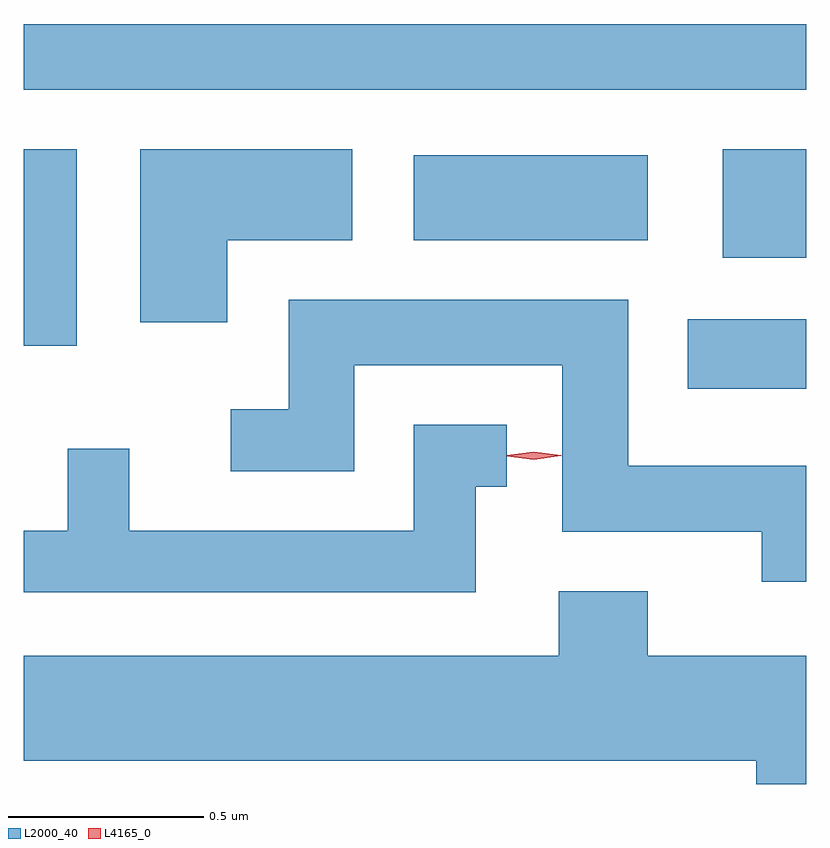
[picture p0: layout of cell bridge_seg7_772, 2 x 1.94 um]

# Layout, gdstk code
import gdstk
lib = gdstk.Library(unit=1e-6, precision=1e-09)
def R(c, l, rs):  # rectangles x0, y0, x1, y1
    for r in rs: c.add(gdstk.rectangle(r[:2], r[2:], *l))
def P(c, l, *ps):  # polygons
    for p in ps: c.add(gdstk.Polygon(p, *l))
L2000_40 = (2000, 40)
L4165_0 = (4165, 0)

bridge_seg7_772 = lib.new_cell('bridge_seg7_772')
R(bridge_seg7_772, L2000_40, [(414.701,1750.786,415.004,1750.964), (413.004,1750.896,413.139,1751.399), (414.791,1751.121,415.004,1751.399), (414.001,1751.166,414.599,1751.384), (413.004,1751.551,415.004,1751.719)])
P(bridge_seg7_772, L2000_40, [(413.524,1751.166),(413.844,1751.166),(413.844,1751.399),(413.301,1751.399),(413.301,1750.956),(413.524,1750.956)],
  [(415.004,1750.589),(414.549,1750.589),(414.549,1751.014),(413.681,1751.014),(413.681,1750.734),(413.533,1750.734),(413.533,1750.576),(413.849,1750.576),(413.849,1750.846),(414.381,1750.846),(414.381,1750.421),(414.891,1750.421),(414.891,1750.293),(415.004,1750.293)],
  [(414.159,1750.536),(414.238,1750.536),(414.238,1750.694),(414.001,1750.694),(414.001,1750.424),(413.274,1750.424),(413.274,1750.633),(413.116,1750.633),(413.116,1750.424),(413.004,1750.424),(413.004,1750.266),(414.159,1750.266)],
  [(415.004,1750.104),(414.599,1750.104),(414.599,1750.269),(414.371,1750.269),(414.371,1750.104),(413.004,1750.104),(413.004,1749.836),(414.876,1749.836),(414.876,1749.776),(415.004,1749.776)])
P(bridge_seg7_772, L4165_0, [(414.308,1750.605),(414.239,1750.614),(414.239,1750.615),(414.239,1750.616),(414.308,1750.625),(414.378,1750.616),(414.378,1750.616),(414.378,1750.615)])

lib.write_gds('bridge_seg7_772.gds')
